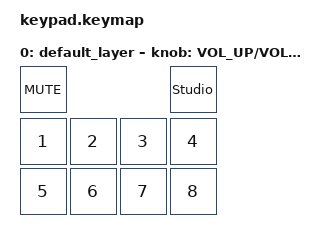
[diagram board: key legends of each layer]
#include <behaviors.dtsi>
#include <dt-bindings/zmk/keys.h>
#include <dt-bindings/zmk/outputs.h>

#define ZMK_MOUSE_SCRL_VAL 140
#include <dt-bindings/zmk/pointing.h>

/ {
    behaviors {
        scroll_up_down: scroll_up_down {
            compatible = "zmk,behavior-sensor-rotate";
            #sensor-binding-cells = <0>;
            bindings = <&msc SCRL_UP>, <&msc SCRL_DOWN>;
            tap-ms = <250>;
        };
    };

    keymap {
        compatible = "zmk,keymap";
        
        default_layer {
            bindings = <
                &kp N1     &kp N2          &kp N3    &kp N4
                &kp N5     &kp N6          &kp N7    &kp N8
                &kp C_MUTE &studio_unlock
            >;
            sensor-bindings = <&inc_dec_kp C_VOL_UP C_VOL_DN>, <&scroll_up_down>;
        };
        
        extra1 {
            status = "reserved";
        };

        extra2 {
            status = "reserved";
        };
    };
};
